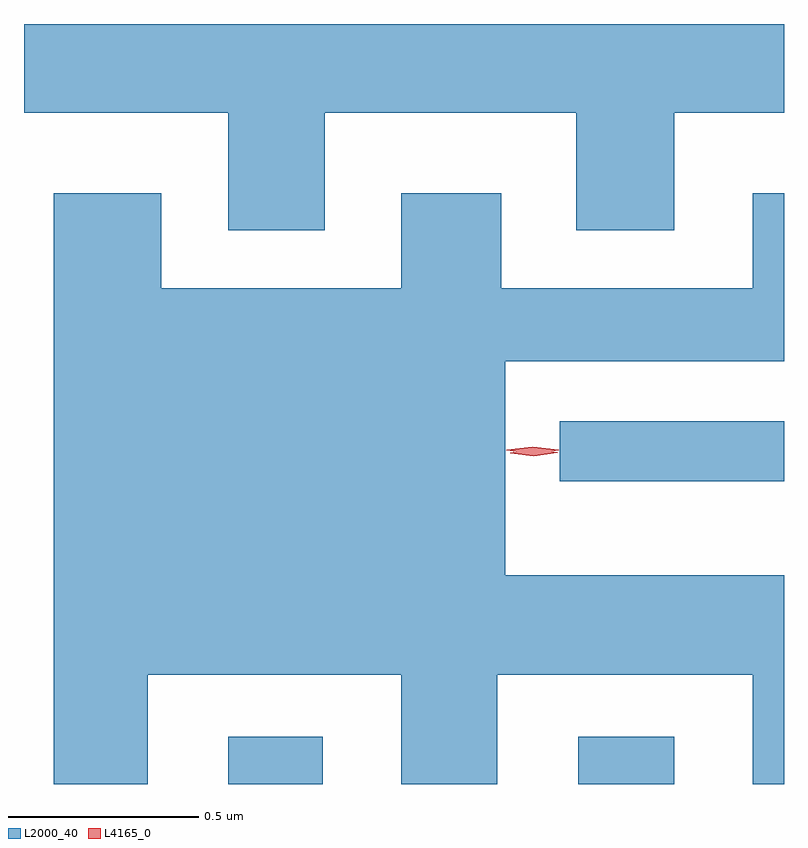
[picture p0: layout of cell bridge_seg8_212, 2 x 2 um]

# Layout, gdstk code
import gdstk
lib = gdstk.Library(unit=1e-6, precision=1e-09)
def R(c, l, rs):  # rectangles x0, y0, x1, y1
    for r in rs: c.add(gdstk.rectangle(r[:2], r[2:], *l))
def P(c, l, *ps):  # polygons
    for p in ps: c.add(gdstk.Polygon(p, *l))
L2000_40 = (2000, 40)
L4165_0 = (4165, 0)

bridge_seg8_212 = lib.new_cell('bridge_seg8_212')
R(bridge_seg8_212, L2000_40, [(1240.181,1910.129,1240.429,1910.254), (1241.101,1910.129,1241.354,1910.254), (1241.053,1910.926,1241.643,1911.084)])
P(bridge_seg8_212, L2000_40, [(1240.434,1911.896),(1241.096,1911.896),(1241.096,1911.586),(1241.354,1911.586),(1241.354,1911.896),(1241.643,1911.896),(1241.643,1912.129),(1239.643,1912.129),(1239.643,1911.896),(1240.181,1911.896),(1240.181,1911.586),(1240.434,1911.586)],
  [(1239.969,1910.416),(1240.636,1910.416),(1240.636,1910.129),(1240.889,1910.129),(1240.889,1910.416),(1241.561,1910.416),(1241.561,1910.129),(1241.643,1910.129),(1241.643,1910.679),(1240.909,1910.679),(1240.909,1911.241),(1241.643,1911.241),(1241.643,1911.684),(1241.561,1911.684),(1241.561,1911.434),(1240.899,1911.434),(1240.899,1911.684),(1240.636,1911.684),(1240.636,1911.434),(1240.004,1911.434),(1240.004,1911.684),(1239.721,1911.684),(1239.721,1910.129),(1239.969,1910.129)])
P(bridge_seg8_212, L4165_0, [(1240.984,1910.991),(1240.922,1911),(1240.922,1911.001),(1240.922,1911.001),(1240.984,1911.011),(1241.046,1911.002),(1241.047,1911.001),(1241.046,1911.001)],
  [(1240.982,1910.997),(1240.913,1911.007),(1240.912,1911.007),(1240.913,1911.008),(1240.982,1911.017),(1241.05,1911.008),(1241.05,1911.007),(1241.05,1911.007)])

lib.write_gds('bridge_seg8_212.gds')
